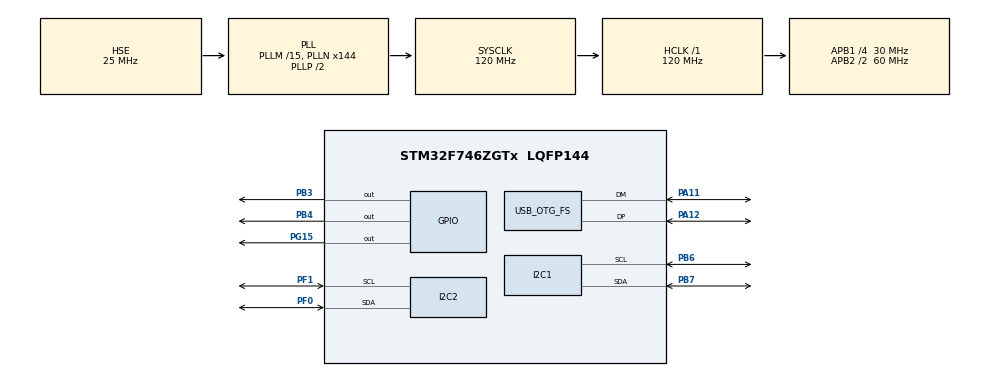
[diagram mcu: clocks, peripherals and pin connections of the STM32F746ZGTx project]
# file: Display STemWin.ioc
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I2C1.Timing=0x007074AF
I2C2.Timing=0x007074AF
Mcu.Family=STM32F7
Mcu.Name=STM32F746ZGTx
Mcu.Package=LQFP144
NVIC.OTG_FS_IRQn=true\:0\:0\:false\:false\:true\:false
NVIC.PriorityGroup=NVIC_PRIORITYGROUP_4
PA11.Mode=Device_Only
PA11.Signal=USB_OTG_FS_DM
PA12.Mode=Device_Only
PA12.Signal=USB_OTG_FS_DP
PB3.Signal=GPIO_Output
PB4.Signal=GPIO_Output
PB6.Mode=I2C
PB6.Signal=I2C1_SCL
PB7.Mode=I2C
PB7.Signal=I2C1_SDA
PF0.Mode=I2C
PF0.Signal=I2C2_SDA
PF1.Mode=I2C
PF1.Signal=I2C2_SCL
PG15.Signal=GPIO_Output
PH0/OSC_IN.Mode=HSE-External-Oscillator
PH0/OSC_IN.Signal=RCC_OSC_IN
PH1/OSC_OUT.Mode=HSE-External-Oscillator
PH1/OSC_OUT.Signal=RCC_OSC_OUT
ProjectManager.HeapSize=0x200
ProjectManager.StackSize=0x400
ProjectManager.TargetToolchain=SW4STM32
RCC.AHBFreq_Value=120000000
RCC.APB1CLKDivider=RCC_HCLK_DIV4
RCC.APB1Freq_Value=30000000
RCC.APB1TimFreq_Value=60000000
RCC.APB2CLKDivider=RCC_HCLK_DIV2
RCC.APB2Freq_Value=60000000
RCC.APB2TimFreq_Value=120000000
RCC.CortexFreq_Value=120000000
RCC.HCLKFreq_Value=120000000
RCC.HSE_VALUE=25000000
RCC.HSI_VALUE=16000000
RCC.LSE_VALUE=32768
RCC.PLLM=15
RCC.PLLN=144
RCC.PLLQ=5
RCC.SYSCLKFreq_VALUE=120000000
RCC.SYSCLKSource=RCC_SYSCLKSOURCE_PLLCLK
RCC.USBFreq_Value=48000000
RCC.VCOOutputFreq_Value=240000000
USB_DEVICE.CLASS_NAME_FS=CDC
USB_DEVICE.VirtualMode-CDC_FS=Cdc
USB_DEVICE.VirtualModeFS=Cdc_FS
USB_OTG_FS.VirtualMode=Device_Only
VP_USB_DEVICE_VS_USB_DEVICE_CDC_FS.Mode=CDC_FS
board=custom

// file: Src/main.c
/**
  ******************************************************************************
  * @file           : main.c
  * @brief          : Main program body
  ******************************************************************************
  * This notice applies to any and all portions of this file
  * that are not between comment pairs USER CODE BEGIN and
  * USER CODE END. Other portions of this file, whether
  * inserted by the user or by software development tools
  * are owned by their respective copyright owners.
  *
  * Copyright (c) 2020 STMicroelectronics International N.V.
  * All rights reserved.
  *
  * Redistribution and use in source and binary forms, with or without
  * modification, are permitted, provided that the following conditions are met:
  *
  * 1. Redistribution of source code must retain the above copyright notice,
  *    this list of conditions and the following disclaimer.
  * 2. Redistributions in binary form must reproduce the above copyright notice,
  *    this list of conditions and the following disclaimer in the documentation
  *    and/or other materials provided with the distribution.
  * 3. Neither the name of STMicroelectronics nor the names of other
  *    contributors to this software may be used to endorse or promote products
  *    derived from this software without specific written permission.
  * 4. This software, including modifications and/or derivative works of this
  *    software, must execute solely and exclusively on microcontroller or
  *    microprocessor devices manufactured by or for STMicroelectronics.
  * 5. Redistribution and use of this software other than as permitted under
  *    this license is void and will automatically terminate your rights under
  *    this license.
  *
  * THIS SOFTWARE IS PROVIDED BY STMICROELECTRONICS AND CONTRIBUTORS "AS IS"
  * AND ANY EXPRESS, IMPLIED OR STATUTORY WARRANTIES, INCLUDING, BUT NOT
  * LIMITED TO, THE IMPLIED WARRANTIES OF MERCHANTABILITY, FITNESS FOR A
  * PARTICULAR PURPOSE AND NON-INFRINGEMENT OF THIRD PARTY INTELLECTUAL PROPERTY
  * RIGHTS ARE DISCLAIMED TO THE FULLEST EXTENT PERMITTED BY LAW. IN NO EVENT
  * SHALL STMICROELECTRONICS OR CONTRIBUTORS BE LIABLE FOR ANY DIRECT, INDIRECT,
  * INCIDENTAL, SPECIAL, EXEMPLARY, OR CONSEQUENTIAL DAMAGES (INCLUDING, BUT NOT
  * LIMITED TO, PROCUREMENT OF SUBSTITUTE GOODS OR SERVICES; LOSS OF USE, DATA,
  * OR PROFITS; OR BUSINESS INTERRUPTION) HOWEVER CAUSED AND ON ANY THEORY OF
  * LIABILITY, WHETHER IN CONTRACT, STRICT LIABILITY, OR TORT (INCLUDING
  * NEGLIGENCE OR OTHERWISE) ARISING IN ANY WAY OUT OF THE USE OF THIS SOFTWARE,
  * EVEN IF ADVISED OF THE POSSIBILITY OF SUCH DAMAGE.
  *
  ******************************************************************************
  */
#include "main.h"
#include "stm32f7xx_hal.h"
#include "usb_device.h"

/* USER CODE BEGIN Includes */
#include "usbd_cdc.h"
#include "usbd_cdc_if.h"
#include "stm32f7xx_hal.h"
#include "STMPE610.h"
#include "SSD1963.h"
#include "GUI.h"
#include "Window1DLG.h"
#include "Window2DLG.h"
#include "AS73211.h"
#include "DIALOG.h"
#include <math.h>
#include <stdio.h>
#include <stdlib.h>
#include "GUI_Type.h"
#include "WM.h"
/* USER CODE END Includes */

I2C_HandleTypeDef hi2c1;
I2C_HandleTypeDef hi2c2;

/* USER CODE BEGIN PV */
/* Private variables ---------------------------------------------------------*/
WM_HWIN hWin;

int keyPressed=0;

uint8_t Divider_,Time_,Gain_,Freq_; //vrednosti ocitane sa slajdera
uint8_t Div_map,Gain_map,Time_map,Freq_map; //vrednosti slajdera posle kalibracije
int8_t Start=0;
int8_t Stop=1; // flagovi za dugmad
int8_t m=0;

uint16_t cie_x;
uint16_t cie_y;

uint16_t X_data,Y_data,Z_data;
char X_DATA[20];
char Y_DATA[20];
char Z_DATA[20];

float temperature;
char TEMPERATURA[20];

float Ee_X_data,Ee_Y_data,Ee_Z_data;
char Ee_X_DATA[20];
char Ee_Y_DATA[20];
char Ee_Z_DATA[20];

float x_malo,y_malo,z_malo; //malo x..
char malo_x[10];//za ispis malog x
char malo_y[10];
char malo_z[10];

/* USER CODE END PV */

void SystemClock_Config(void);
static void MX_GPIO_Init(void);
static void MX_I2C1_Init(void);
static void MX_I2C2_Init(void);

/* USER CODE BEGIN PFP */
/* Private function prototypes -----------------------------------------------*/
extern volatile GUI_TIMER_TIME OS_TimeMS;
void HAL_SYSTICK_Callback(void)
{
	OS_TimeMS++;
}

uint8_t Divider_kalibracija(uint8_t div_raw);
uint8_t Gain_kalibracija(uint8_t gain_raw);
uint8_t Time_kalibracija(uint8_t Time_raw);
uint8_t Freq_kalibracija(uint8_t Freq_raw);
void reverse(char* str, int len);
void ftoa(float n, char* res, int afterpoint);
int intToStr(int x, char str[], int d);

/* USER CODE END PFP */

int main(void)
{

  /* MCU Configuration----------------------------------------------------------*/

  /* Reset of all peripherals, Initializes the Flash interface and the Systick. */
  HAL_Init();

  /* Configure the system clock */
  SystemClock_Config();

  /* Initialize all configured peripherals */
  MX_GPIO_Init();
  MX_I2C1_Init();
  MX_I2C2_Init();
  MX_USB_DEVICE_Init();
  /* USER CODE BEGIN 2 */
  Init_LCD_GPIO();
  Init_TOUCH_GPIO(hi2c1);
  STMPE610_Init();

  WM_SetCreateFlags(WM_CF_MEMDEV); // eliminise flickering
  GUI_Init();
  GUI_Clear();

  hWin=CreateWindow1();
  GUI_Exec();

  if(AS73211_init(hi2c2)) CDC_Transmit_FS((uint8_t*)"Device connected!\n",18);
  else CDC_Transmit_FS((uint8_t*)"Device not found!\n",18);

  /* USER CODE END 2 */

  /* Infinite loop */
  /* USER CODE BEGIN WHILE */
  while (1)
  {

	  STMPE610_read_xyz();
	  GUI_TOUCH_Exec();
	  GUI_Delay(20);
	  keyPressed=GUI_GetKey();

	  if(Stop==1)
	  {
	  	Divider_=SLIDER_GetValue(WM_GetDialogItem(hWin,ID_SLIDER_0));
	  	Gain_=SLIDER_GetValue(WM_GetDialogItem(hWin, ID_SLIDER_1));
	  	Time_=SLIDER_GetValue(WM_GetDialogItem(hWin,ID_SLIDER_2));
	  	Freq_=LISTBOX_GetSel(WM_GetDialogItem(hWin,ID_LISTBOX_0));

	  	Div_map=Divider_kalibracija(Divider_);
	  	Gain_map=Gain_kalibracija(Gain_);
	  	Time_map=Time_kalibracija(Time_);
	  	Freq_map=Freq_kalibracija(Freq_);
	  	CDC_Transmit_FS("Ocitao slajdere!\n",17);

	  	EDIT_SetText(WM_GetDialogItem(hWin,ID_EDIT_20),malo_x);
	  	EDIT_SetText(WM_GetDialogItem(hWin,ID_EDIT_21),malo_y);
	  	EDIT_SetText(WM_GetDialogItem(hWin,ID_EDIT_22),malo_z);

	  }

	  switch(keyPressed)
	  {
	  	  case ID_BUTTON_1:
	      CDC_Transmit_FS("Start\n",6);
	  	  Start=1;
	  	  Stop=0;

	  	  	  if(m==0)
	  	  	  {
	  	  		  HAL_Delay(100);
	  	  		  AD73211_startConfiguration();
	  	  		  AS73211_writeByte(AS73211_CFG1_REG, Gain_map|Time_map);
	  	  		  AS73211_writeByte(AS73211_CFG2_REG, 0x80| 0x00|0x08|Div_map);
	  	  		  AS73211_writeByte(AS73211_CFG3_REG, 0x40);
	  	  		  AS73211_writeByte(AS73211_BREAK_REG, 0xff);
	  	  		  AS73211_writeByte(AS73211_EDGES_REG, 0x01);
	  	  		  HAL_Delay(100);
	  	  		  m=1;
	  	  	  	}
	     	break;

	  	  case ID_BUTTON_2:

	  		  	  CDC_Transmit_FS("Stop\n",5);
	  		  	  Start=0;
	  		  	  Stop=1;
	  		  	  m=0;
	  		break;

	  	 case ID_BUTTON_0:

	  		 CDC_Transmit_FS("Next\n",5);
	  		 hWin=CreateWindow2();
	  		 GUI_Exec();
	  		 HAL_Delay(300);
	  		 break;

//previous
	  	 case ID_BUTTON_20:
	    	 CDC_Transmit_FS("Previous\n",9);
	  		 hWin=CreateWindow1();
	  		 GUI_Exec();
	  		 HAL_Delay(300);
	  		 break;

	  }

	  if(Start==1 && Stop==0 && m==1)
	  	  {
		  	  CDC_Transmit_FS("Measurement\n",12);
	  		  AD73211_startMeasurement();
	  		  HAL_Delay(500); // ovaj delay bi trebalo da odgovara vremenu konverzije

	  /*					citanje X,Y,Z kordinata								*/
	  		  X_data=AD73211_readXYZChannel(AS73211_X_CHANNEL);
	  		  Y_data=AD73211_readXYZChannel(AS73211_Y_CHANNEL);
	  		  Z_data=AD73211_readXYZChannel(AS73211_Z_CHANNEL);

	  		  temperature = color6_getTemperature();
	  		  ftoa(temperature,TEMPERATURA, 4);

	  		  sprintf(X_DATA,"%d",X_data);
	  		  sprintf(Y_DATA,"%d",Y_data);
	  		  sprintf(Z_DATA,"%d",Z_data);

	  		  EDIT_SetText(WM_GetDialogItem(hWin,ID_EDIT_0),X_DATA);
	  		  EDIT_SetText(WM_GetDialogItem(hWin,ID_EDIT_1),Y_DATA);
	  		  EDIT_SetText(WM_GetDialogItem(hWin,ID_EDIT_2),Z_DATA);
	  		  EDIT_SetText(WM_GetDialogItem(hWin,ID_EDIT_3),TEMPERATURA);

	  /*					racunanje Ee vrednosti							*/
	  		  Ee_X_data=color6_convertingToEe(AS73211_X_CHANNEL, X_data);
	  		  Ee_Y_data=color6_convertingToEe(AS73211_Y_CHANNEL, Y_data);
	  		  Ee_Z_data=color6_convertingToEe(AS73211_Z_CHANNEL, Z_data);

	  		  ftoa(Ee_X_data,Ee_X_DATA, 4);
	  		  ftoa(Ee_Y_data,Ee_Y_DATA, 4);
	  		  ftoa(Ee_Z_data,Ee_Z_DATA, 4);

	  		  EDIT_SetText(WM_GetDialogItem(hWin,ID_EDIT_4),Ee_X_DATA);
	  		  EDIT_SetText(WM_GetDialogItem(hWin,ID_EDIT_5),Ee_Y_DATA);
	  		  EDIT_SetText(WM_GetDialogItem(hWin,ID_EDIT_6),Ee_Z_DATA);

	  /*					racunanje malih x,y,z							*/

	  		 x_malo=(float)X_data/(X_data+Y_data+Z_data);
	  		 ftoa(x_malo,malo_x, 4);

	  		 y_malo=(float)Y_data/(X_data+Y_data+Z_data);
	  		 ftoa(y_malo,malo_y, 4);

	  	     z_malo=(float)Z_data/(X_data+Y_data+Z_data);
	  		 ftoa(z_malo,malo_z, 4);

	  		 EDIT_SetText(WM_GetDialogItem(hWin,ID_EDIT_20),malo_x);
	  		 EDIT_SetText(WM_GetDialogItem(hWin,ID_EDIT_21),malo_y);
	  		 EDIT_SetText(WM_GetDialogItem(hWin,ID_EDIT_22),malo_z);

	  		 cie_x=(uint16_t)(x_malo*308/0.75);
	  		 cie_y=(uint16_t)(272-y_malo*272/0.85);

	  		 GUI_RECT r={cie_x-100,cie_y-100,cie_x+100,cie_y+100};
	  		 WM_InvalidateRect(hWin,&r);

	  	  }
  /* USER CODE END WHILE */

  }

}

void SystemClock_Config(void)
{

  RCC_OscInitTypeDef RCC_OscInitStruct;
  RCC_ClkInitTypeDef RCC_ClkInitStruct;
  RCC_PeriphCLKInitTypeDef PeriphClkInitStruct;

    /**Configure the main internal regulator output voltage
    */
  __HAL_RCC_PWR_CLK_ENABLE();

  __HAL_PWR_VOLTAGESCALING_CONFIG(PWR_REGULATOR_VOLTAGE_SCALE3);

    /**Initializes the CPU, AHB and APB busses clocks
    */
  RCC_OscInitStruct.OscillatorType = RCC_OSCILLATORTYPE_HSE;
  RCC_OscInitStruct.HSEState = RCC_HSE_ON;
  RCC_OscInitStruct.PLL.PLLState = RCC_PLL_ON;
  RCC_OscInitStruct.PLL.PLLSource = RCC_PLLSOURCE_HSE;
  RCC_OscInitStruct.PLL.PLLM = 15;
  RCC_OscInitStruct.PLL.PLLN = 144;
  RCC_OscInitStruct.PLL.PLLP = RCC_PLLP_DIV2;
  RCC_OscInitStruct.PLL.PLLQ = 5;
  if (HAL_RCC_OscConfig(&RCC_OscInitStruct) != HAL_OK)
  {
    _Error_Handler(__FILE__, __LINE__);
  }

    /**Initializes the CPU, AHB and APB busses clocks
    */
  RCC_ClkInitStruct.ClockType = RCC_CLOCKTYPE_HCLK|RCC_CLOCKTYPE_SYSCLK
                              |RCC_CLOCKTYPE_PCLK1|RCC_CLOCKTYPE_PCLK2;
  RCC_ClkInitStruct.SYSCLKSource = RCC_SYSCLKSOURCE_PLLCLK;
  RCC_ClkInitStruct.AHBCLKDivider = RCC_SYSCLK_DIV1;
  RCC_ClkInitStruct.APB1CLKDivider = RCC_HCLK_DIV4;
  RCC_ClkInitStruct.APB2CLKDivider = RCC_HCLK_DIV2;

  if (HAL_RCC_ClockConfig(&RCC_ClkInitStruct, FLASH_LATENCY_3) != HAL_OK)
  {
    _Error_Handler(__FILE__, __LINE__);
  }

  PeriphClkInitStruct.PeriphClockSelection = RCC_PERIPHCLK_I2C1|RCC_PERIPHCLK_I2C2
                              |RCC_PERIPHCLK_CLK48;
  PeriphClkInitStruct.I2c1ClockSelection = RCC_I2C1CLKSOURCE_PCLK1;
  PeriphClkInitStruct.I2c2ClockSelection = RCC_I2C2CLKSOURCE_PCLK1;
  PeriphClkInitStruct.Clk48ClockSelection = RCC_CLK48SOURCE_PLL;
  if (HAL_RCCEx_PeriphCLKConfig(&PeriphClkInitStruct) != HAL_OK)
  {
    _Error_Handler(__FILE__, __LINE__);
  }

    /**Configure the Systick interrupt time
    */
  HAL_SYSTICK_Config(HAL_RCC_GetHCLKFreq()/1000);

    /**Configure the Systick
    */
  HAL_SYSTICK_CLKSourceConfig(SYSTICK_CLKSOURCE_HCLK);

  /* SysTick_IRQn interrupt configuration */
  HAL_NVIC_SetPriority(SysTick_IRQn, 0, 0);
}

/* I2C1 init function */
static void MX_I2C1_Init(void)
{

  hi2c1.Instance = I2C1;
  hi2c1.Init.Timing = 0x007074AF;
  hi2c1.Init.OwnAddress1 = 0;
  hi2c1.Init.AddressingMode = I2C_ADDRESSINGMODE_7BIT;
  hi2c1.Init.DualAddressMode = I2C_DUALADDRESS_DISABLE;
  hi2c1.Init.OwnAddress2 = 0;
  hi2c1.Init.OwnAddress2Masks = I2C_OA2_NOMASK;
  hi2c1.Init.GeneralCallMode = I2C_GENERALCALL_DISABLE;
  hi2c1.Init.NoStretchMode = I2C_NOSTRETCH_DISABLE;
  if (HAL_I2C_Init(&hi2c1) != HAL_OK)
  {
    _Error_Handler(__FILE__, __LINE__);
  }

    /**Configure Analogue filter
    */
  if (HAL_I2CEx_ConfigAnalogFilter(&hi2c1, I2C_ANALOGFILTER_ENABLE) != HAL_OK)
  {
    _Error_Handler(__FILE__, __LINE__);
  }

    /**Configure Digital filter
    */
  if (HAL_I2CEx_ConfigDigitalFilter(&hi2c1, 0) != HAL_OK)
  {
    _Error_Handler(__FILE__, __LINE__);
  }

}

/* I2C2 init function */
static void MX_I2C2_Init(void)
{

  hi2c2.Instance = I2C2;
  hi2c2.Init.Timing = 0x007074AF;
  hi2c2.Init.OwnAddress1 = 0;
  hi2c2.Init.AddressingMode = I2C_ADDRESSINGMODE_7BIT;
  hi2c2.Init.DualAddressMode = I2C_DUALADDRESS_DISABLE;
  hi2c2.Init.OwnAddress2 = 0;
  hi2c2.Init.OwnAddress2Masks = I2C_OA2_NOMASK;
  hi2c2.Init.GeneralCallMode = I2C_GENERALCALL_DISABLE;
  hi2c2.Init.NoStretchMode = I2C_NOSTRETCH_DISABLE;
  if (HAL_I2C_Init(&hi2c2) != HAL_OK)
  {
    _Error_Handler(__FILE__, __LINE__);
  }

    /**Configure Analogue filter
    */
  if (HAL_I2CEx_ConfigAnalogFilter(&hi2c2, I2C_ANALOGFILTER_ENABLE) != HAL_OK)
  {
    _Error_Handler(__FILE__, __LINE__);
  }

    /**Configure Digital filter
    */
  if (HAL_I2CEx_ConfigDigitalFilter(&hi2c2, 0) != HAL_OK)
  {
    _Error_Handler(__FILE__, __LINE__);
  }

}

/** Configure pins as
        * Analog
        * Input
        * Output
        * EVENT_OUT
        * EXTI
*/
static void MX_GPIO_Init(void)
{

  GPIO_InitTypeDef GPIO_InitStruct;

  /* GPIO Ports Clock Enable */
  __HAL_RCC_GPIOF_CLK_ENABLE();
  __HAL_RCC_GPIOH_CLK_ENABLE();
  __HAL_RCC_GPIOA_CLK_ENABLE();
  __HAL_RCC_GPIOG_CLK_ENABLE();
  __HAL_RCC_GPIOB_CLK_ENABLE();

  /*Configure GPIO pin Output Level */
  HAL_GPIO_WritePin(GPIOG, GPIO_PIN_15, GPIO_PIN_RESET);

  /*Configure GPIO pin Output Level */
  HAL_GPIO_WritePin(GPIOB, GPIO_PIN_3|GPIO_PIN_4, GPIO_PIN_RESET);

  /*Configure GPIO pin : PG15 */
  GPIO_InitStruct.Pin = GPIO_PIN_15;
  GPIO_InitStruct.Mode = GPIO_MODE_OUTPUT_PP;
  GPIO_InitStruct.Pull = GPIO_NOPULL;
  GPIO_InitStruct.Speed = GPIO_SPEED_FREQ_LOW;
  HAL_GPIO_Init(GPIOG, &GPIO_InitStruct);

  /*Configure GPIO pins : PB3 PB4 */
  GPIO_InitStruct.Pin = GPIO_PIN_3|GPIO_PIN_4;
  GPIO_InitStruct.Mode = GPIO_MODE_OUTPUT_PP;
  GPIO_InitStruct.Pull = GPIO_NOPULL;
  GPIO_InitStruct.Speed = GPIO_SPEED_FREQ_LOW;
  HAL_GPIO_Init(GPIOB, &GPIO_InitStruct);

}

/* USER CODE BEGIN 4 */
uint8_t Divider_kalibracija(uint8_t div_raw)
{
	 uint8_t provera=div_raw;
	 uint8_t rezultat=0;

	 if(provera==0)
	 {
		 rezultat=0x00;
	 }
	 else if(provera>0 && provera<=15)
	 {
		 rezultat=0x01;
	 }
	 else if(provera>15 && provera<=30)
	 {
	 	 rezultat=0x02;
	 }

	 else if(provera>30 && provera<=45)
	 {
		 rezultat=0x03;
	 }
	 else if(provera>45 && provera<=60)
	 {
		 rezultat=0x04;
	 }

	 else if(provera>60 && provera<75)
     {
		 rezultat=0x05;
	}
	 else if(provera>75 && provera<=90)
	{
		 rezultat=0x06;
	}

	 else if(provera>90)
	 {
		 rezultat=0x07;
	 }

	 return rezultat;
}

uint8_t Gain_kalibracija(uint8_t gain_raw)
{
	 uint8_t provera=gain_raw;
	 uint8_t rezultat=0xB0;

	  if(provera>=0 && provera<=7)
	 {
		  rezultat=0xB0;
	 }
	 else if(provera>7 && provera<=15)
	 {
		 rezultat=0xA0;
	 }

	 else if(provera>15 && provera<=22)
	 {
		 rezultat=0x90;
	 }
	 else if(provera>22 && provera<=30)
	 {
		 rezultat=0x80;
	 }

	 else if(provera>30 && provera<37)
     {
		 rezultat=0x70;
	}
	 else if(provera>37 && provera<=45)
	{
		 rezultat=0x60;
	}

	 else if(provera>45 && provera<=52)
	 {
		 rezultat=0x50;
	 }

	 else if(provera>52 && provera<=60)
	 {
		 rezultat=0x40;
	 }
	 else if(provera>60 && provera<=68)
	{
		 rezultat=0x30;
	}
	 else if(provera>68 && provera<=75)
	{
		 rezultat=0x20;
	}
	 else if(provera>75 && provera<=85)
	{
		 rezultat=0x10;
	}

	 else if(provera>=85)
	 {
		 rezultat=0x00;
	 }
	  return rezultat;
}

uint8_t Time_kalibracija(uint8_t Time_raw)
{
	 uint8_t provera=Time_raw;
	 uint8_t rezultat=0;
	  if(provera>=0 && provera<=6)
	 {
		  rezultat=0x00;
	 }
	 else if(provera>6 && provera<=12)
	 {
		 rezultat=0x01;
	 }

	 else if(provera>12 && provera<=18)
	 {
		 rezultat=0x02;
	 }
	 else if(provera>18 && provera<=24)
	 {
		 rezultat=0x03;
	 }

	 else if(provera>24 && provera<30)
     {
		 rezultat=0x04;
	}
	 else if(provera>30 && provera<=36)
	{
		 rezultat=0x05;
	}

	 else if(provera>36 && provera<=42)
	 {
		 rezultat=0x06;
	 }

	 else if(provera>42 && provera<=48)
	 {
		 rezultat=0x07;
	 }
	 else if(provera>48 && provera<=54)
	{
		 rezultat=0x08;
	}
	 else if(provera>54 && provera<=60)
	{
		 rezultat=0x09;
	}

	else if(provera>60 && provera<=66)
	{
		 rezultat=0x0A;
	}

	else if(provera>66 && provera<=72)
	{
		rezultat=0x0B;
	}

	else if(provera>72 && provera<=80)
	{
		rezultat=0x0C;
	}

	 else if(provera>80 && provera<=90)
	{
		 rezultat=0x0D;
	}
	 else if(provera>=90)
	 {
		 rezultat=0x0E;
	}
	  return rezultat;
}

uint8_t Freq_kalibracija(uint8_t Freq_raw)
{
	uint8_t provera=Freq_raw;
	uint8_t rezultat=0;

	if(provera==0)
	{
		rezultat=0x00;
	}
	else if(provera==1)
	{
		rezultat=0x01;
	}
	else if(provera==2)
	{
		rezultat=0x02;
	}
	else if(provera==3)
	{
		rezultat=0x03;
	}
	return rezultat;
}

void reverse(char* str, int len)
{
    int i = 0, j = len - 1, temp;
    while (i < j) {
        temp = str[i];
        str[i] = str[j];
        str[j] = temp;
        i++;
        j--;
    }
}

// Converts a given integer x to string str[].
// d is the number of digits required in the output.
// If d is more than the number of digits in x,
// then 0s are added at the beginning.
int intToStr(int x, char str[], int d)
{
    int i = 0;
    while (x) {
        str[i++] = (x % 10) + '0';
        x = x / 10;
    }

    // If number of digits required is more, then
    // add 0s at the beginning
    while (i < d)
        str[i++] = '0';

    reverse(str, i);
    str[i] = '\0';
    return i;
}

// Converts a floating-point/double number to a string.
void ftoa(float n, char* res, int afterpoint)
{
    // Extract integer part
    int ipart = (int)n;

    // Extract floating part
    float fpart = n - (float)ipart;

    // convert integer part to string
    int i = intToStr(ipart, res, 0);

    // check for display option after point
    if (afterpoint != 0) {
        res[i] = '.'; // add dot

        // Get the value of fraction part upto given no.
        // of points after dot. The third parameter
        // is needed to handle cases like 233.007
        fpart = fpart * pow(10, afterpoint);

        intToStr((int)fpart, res + i + 1, afterpoint);
    }
}

/* USER CODE END 4 */

void _Error_Handler(char *file, int line)
{
  while(1)
  {
  }
}

/************************ (C) COPYRIGHT STMicroelectronics *****END OF FILE****/
